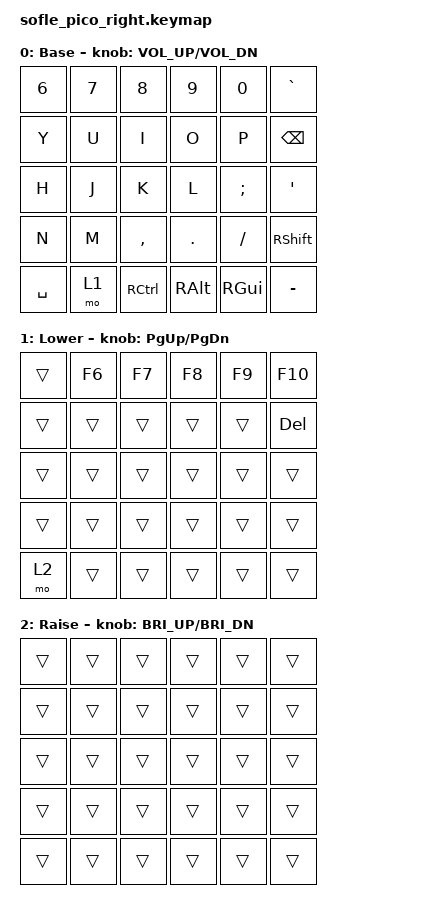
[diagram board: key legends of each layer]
#include <behaviors.dtsi>
#include <dt-bindings/zmk/keys.h>
#include <dt-bindings/zmk/bt.h>

/ {
    keymap {
        compatible = "zmk,keymap";

        default_layer {
            display-name = "Base";
            bindings = <
                &kp N6     &kp N7  &kp N8    &kp N9   &kp N0   &kp GRAVE
                &kp Y      &kp U   &kp I     &kp O    &kp P    &kp BSPC
                &kp H      &kp J   &kp K     &kp L    &kp SEMI &kp SQT
                &kp N      &kp M   &kp COMMA &kp DOT  &kp FSLH &kp RSHFT
                &kp SPACE  &mo 1   &kp RCTL  &kp RALT &kp RGUI &kp MINUS
            >;
            sensor-bindings = <&inc_dec_kp C_VOL_UP C_VOL_DN>;
        };

        lower_layer {
            display-name = "Lower";
            bindings = <
                &trans   &kp F6  &kp F7  &kp F8  &kp F9  &kp F10
                &trans   &trans  &trans  &trans  &trans  &kp DEL
                &trans   &trans  &trans  &trans  &trans  &trans
                &trans   &trans  &trans  &trans  &trans  &trans
                &mo 2    &trans  &trans  &trans  &trans  &trans
            >;
            sensor-bindings = <&inc_dec_kp PG_UP PG_DN>;
        };

        raise_layer {
            display-name = "Raise";
            bindings = <
                &trans  &trans  &trans  &trans  &trans  &trans
                &trans  &trans  &trans  &trans  &trans  &trans
                &trans  &trans  &trans  &trans  &trans  &trans
                &trans  &trans  &trans  &trans  &trans  &trans
                &trans  &trans  &trans  &trans  &trans  &trans
            >;
            sensor-bindings = <&inc_dec_kp C_BRI_UP C_BRI_DN>;
        };
    };
};
